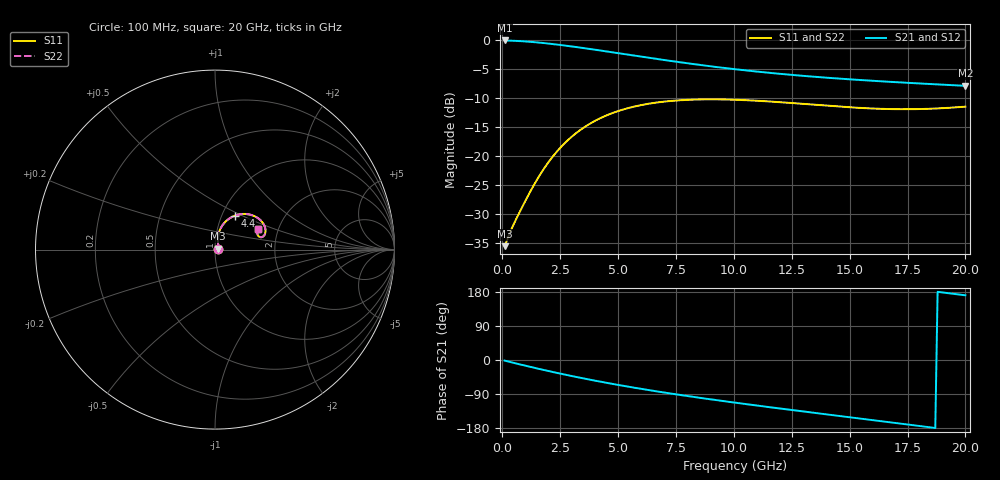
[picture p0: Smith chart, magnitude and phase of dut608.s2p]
! Touchstone file exported from HFSS 2024.1.0
!  File:  C:/UserFiles/LocalFiles/RDL_TSV_Batchsim/temp_RDL_TSV_608_1779798900.aedt
!  Generated:  08:49:05 PM May 26, 2026
!  Design:  RDL_TSV
!  Project:  temp_RDL_TSV_608_1779798900
!  Setup:  Setup1
!  Solution:  Sweep
! Variables:
!  dtsv = 7.29um
!  hbump = 3um
!  htsv = 53.43um
!  ldown = 583.41um
!  lrdl = 311.1um
!  p = 40
!  p1 = 46.87um
!  rhole = 10um
!  subl = 2994.63um
!  t = 450um
!  tdown = 2.58um
!  trdl = 4.62um
!  viad = 10um
!  wdown = 21.89um
!  wrdl = 23.74um
!  xbump = 18um
# GHz S MA R 50.000000
! Terminal data exported
! Port[1] = TM1_1_T1
! Port[2] = TM1_4_T1
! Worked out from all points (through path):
!   200 points, 100 MHz to 20 GHz, reference 50 ohm
!   highest |S21| = -0.14 dB at 100 MHz (marker M1); lowest = -8.0 dB at 20 GHz (marker M2)
!   group delay of S21, straight-line fit = 24.9 ps
!   lowest |S11| = -35.6 dB at 100 MHz (marker M3), VSWR 1.03, Z = 51.6 + j0.452 ohm
!   |S11| at or under -10 dB: start of sweep to end of sweep
!   |S22| runs from -35.6 to -10.3 dB; largest |S21 - S12| = 1.1e-14
!   S11 on the Smith chart (normalised r, x): 100 MHz: 1.03, +0.01; 4.4 GHz: 1.15, +0.45; 20 GHz: 1.57, +0.38
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0.1  0.01659 15.3  0.9838 -1.6  0.9838 -1.6  0.01659 15.3
! Gamma 0 0 0 0
! Port Impedance 50 0 50 0
0.4  0.02339 41.6  0.9793 -6.2  0.9793 -6.2  0.02339 41.6
0.8  0.03417 59.8  0.9704 -12.1  0.9704 -12.1  0.03416 59.8
1.3  0.05295 72.5  0.9545 -19.4  0.9545 -19.4  0.05293 72.5
1.8  0.07735 76.9  0.9339 -26.5  0.9339 -26.5  0.07732 76.9
2.2  0.09944 76.9  0.9151 -31.9  0.9151 -31.9  0.09941 76.9
2.6  0.1226 75.2  0.8948 -37.2  0.8948 -37.2  0.1225 75.2
3  0.1457 72.4  0.8737 -42.3  0.8737 -42.3  0.1457 72.4
3.5  0.1736 68.2  0.8465 -48.5  0.8465 -48.5  0.1735 68.2
4.4  0.2179 59.9  0.7972 -59.1  0.7972 -59.1  0.2179 59.9
4.9  0.2385 55.3  0.7703 -64.6  0.7703 -64.6  0.2384 55.3
5.5  0.2591 50.0  0.7389 -71.0  0.7389 -71.0  0.259 50.0
6.8  0.2893 39.8  0.676 -84.1  0.676 -84.1  0.2893 39.8
7.6  0.2996 34.4  0.6414 -91.5  0.6414 -91.5  0.2996 34.5
8.4  0.3047 29.8  0.6102 -98.7  0.6102 -98.7  0.3047 29.8
10.1  0.303 22.0  0.5545 -113.0  0.5545 -113.0  0.3032 22.1
11.7  0.2916 17.3  0.5137 -125.7  0.5137 -125.7  0.292 17.4
13.4  0.2754 15.0  0.4799 -138.9  0.4799 -138.9  0.2758 15.1
15  0.2611 15.4  0.4549 -151.1  0.4549 -151.1  0.2617 15.4
16.7  0.2521 18.0  0.4333 -164.0  0.4333 -164.0  0.2529 18.0
18.3  0.253 21.6  0.416 -176.3  0.416 -176.3  0.2537 21.5
20  0.2645 25.2  0.3998 170.7  0.3998 170.7  0.2652 25.0
